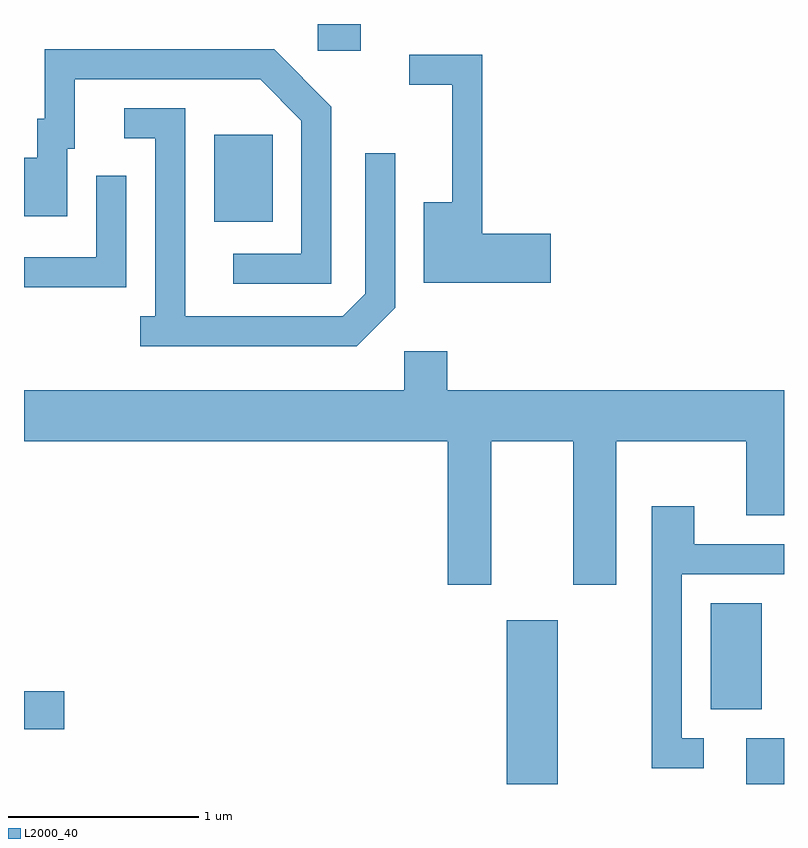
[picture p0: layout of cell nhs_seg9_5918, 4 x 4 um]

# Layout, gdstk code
import gdstk
lib = gdstk.Library(unit=1e-6, precision=1e-09)
def R(c, l, rs):  # rectangles x0, y0, x1, y1
    for r in rs: c.add(gdstk.rectangle(r[:2], r[2:], *l))
def P(c, l, *ps):  # polygons
    for p in ps: c.add(gdstk.Polygon(p, *l))
L2000_40 = (2000, 40)

nhs_seg9_5918 = lib.new_cell('nhs_seg9_5918')
R(nhs_seg9_5918, L2000_40, [(362.151,2014.432,362.419,2015.294), (363.411,2014.432,363.611,2014.674), (359.611,2014.721,359.824,2014.919), (363.226,2014.826,363.494,2015.384), (360.611,2017.391,360.919,2017.849), (361.156,2018.291,361.384,2018.432)])
P(nhs_seg9_5918, L2000_40, [(361.229,2017.997),(360.927,2018.299),(359.721,2018.299),(359.721,2017.934),(359.681,2017.934),(359.681,2017.729),(359.611,2017.729),(359.611,2017.421),(359.839,2017.421),(359.839,2017.776),(359.879,2017.776),(359.879,2018.141),(360.854,2018.141),(361.071,2017.924),(361.071,2017.224),(360.713,2017.224),(360.713,2017.066),(361.229,2017.066)],
  [(362.384,2017.329),(362.024,2017.329),(362.024,2018.269),(361.638,2018.269),(361.638,2018.111),(361.866,2018.111),(361.866,2017.494),(361.716,2017.494),(361.716,2017.071),(362.384,2017.071)],
  [(361.564,2016.939),(361.564,2017.753),(361.406,2017.753),(361.406,2017.012),(361.289,2016.894),(360.459,2016.894),(360.459,2017.989),(360.138,2017.989),(360.138,2017.831),(360.301,2017.831),(360.301,2016.894),(360.223,2016.894),(360.223,2016.736),(361.362,2016.736)],
  [(360.149,2017.633),(359.991,2017.633),(359.991,2017.204),(359.611,2017.204),(359.611,2017.046),(360.149,2017.046)],
  [(362.069,2016.236),(362.501,2016.236),(362.501,2015.481),(362.729,2015.481),(362.729,2016.236),(363.411,2016.236),(363.411,2015.846),(363.611,2015.846),(363.611,2016.504),(361.839,2016.504),(361.839,2016.709),(361.611,2016.709),(361.611,2016.504),(359.611,2016.504),(359.611,2016.236),(361.841,2016.236),(361.841,2015.481),(362.069,2015.481)],
  [(363.188,2014.674),(363.074,2014.674),(363.074,2015.536),(363.611,2015.536),(363.611,2015.694),(363.139,2015.694),(363.139,2015.894),(362.916,2015.894),(362.916,2014.516),(363.188,2014.516)])

lib.write_gds('nhs_seg9_5918.gds')
